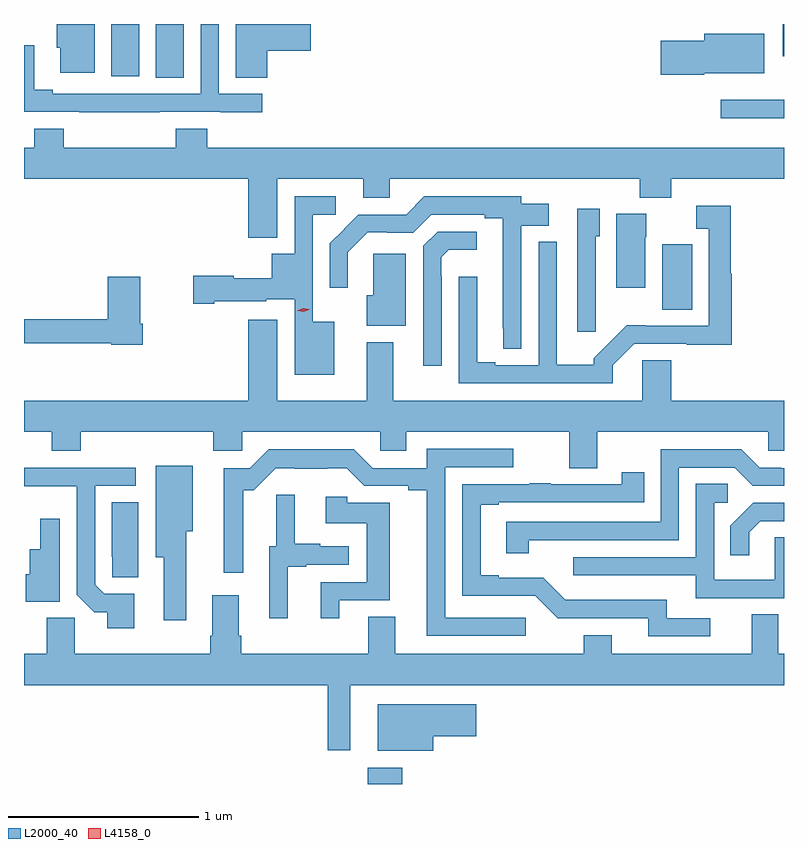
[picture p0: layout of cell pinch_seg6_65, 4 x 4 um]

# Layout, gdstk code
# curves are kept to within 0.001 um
import gdstk
lib = gdstk.Library(unit=1e-6, precision=1e-09)
def R(c, l, rs):  # rectangles x0, y0, x1, y1
    for r in rs: c.add(gdstk.rectangle(r[:2], r[2:], *l))
def P(c, l, *ps):  # polygons
    for p in ps: c.add(gdstk.Polygon(p, *l))
L2000_40 = (2000, 40)
L4158_0 = (4158, 0)

pinch_seg6_65 = lib.new_cell('pinch_seg6_65')
R(pinch_seg6_65, L2000_40, [(887.754,944.151,887.937,944.236), (889.304,946.648,889.462,946.993), (889.614,947.654,889.946,947.752), (886.64,947.869,886.786,948.151), (886.406,947.877,886.552,948.151), (889.94,947.981,889.946,948.151)])
P(pinch_seg6_65, L2000_40, [(886.318,948.151),(886.118,948.151),(886.118,948.027),(886.136,948.027),(886.136,947.894),(886.318,947.894)],
  [(887.225,948.011),(887.455,948.011),(887.455,948.151),(887.06,948.151),(887.06,947.869),(887.225,947.869)],
  [(886.661,947.688),(886.978,947.688),(886.978,947.687),(887.2,947.687),(887.2,947.784),(886.971,947.784),(886.971,948.151),(886.875,948.151),(886.875,947.784),(886.096,947.784),(886.096,947.804),(886,947.804),(886,948.04),(885.946,948.04),(885.946,947.688),(886.237,947.688),(886.237,947.687),(886.661,947.687)],
  [(889.526,947.891),(889.843,947.891),(889.843,948.1),(889.526,948.1),(889.526,948.062),(889.296,948.062),(889.296,947.884),(889.526,947.884)],
  [(887.278,947.336),(887.732,947.336),(887.732,947.237),(887.872,947.237),(887.872,947.336),(889.187,947.336),(889.187,947.237),(889.352,947.237),(889.352,947.336),(889.946,947.336),(889.946,947.5),(886.91,947.5),(886.91,947.599),(886.745,947.599),(886.745,947.5),(886.154,947.5),(886.154,947.599),(886.001,947.599),(886.001,947.5),(885.946,947.5),(885.946,947.336),(887.126,947.336),(887.126,947.027),(887.278,947.027)],
  [(888.564,947.09),(888.709,947.09),(888.709,947.206),(888.564,947.206),(888.564,947.244),(888.053,947.244),(887.957,947.148),(887.706,947.148),(887.556,946.996),(887.556,946.764),(887.651,946.764),(887.651,946.949),(887.756,947.054),(887.858,947.054),(887.858,947.052),(887.994,947.052),(888.09,947.148),(888.371,947.148),(888.371,947.128),(888.467,947.128),(888.468,946.441),(888.564,946.441)],
  [(887.578,946.585),(887.466,946.585),(887.466,947.148),(887.586,947.148),(887.586,947.244),(887.37,947.244),(887.37,946.942),(887.249,946.942),(887.249,946.813),(887.051,946.813),(887.051,946.826),(886.836,946.826),(886.836,946.679),(886.948,946.679),(886.948,946.691),(887.22,946.691),(887.22,946.703),(887.37,946.703),(887.37,946.304),(887.578,946.304)],
  [(889.045,946.354),(889.158,946.467),(889.435,946.467),(889.435,946.462),(889.672,946.462),(889.672,946.836),(889.667,946.836),(889.667,947.194),(889.485,947.194),(889.485,947.073),(889.551,947.073),(889.551,946.563),(889.219,946.563),(889.219,946.565),(889.118,946.565),(888.944,946.391),(888.944,946.357),(888.75,946.357),(888.75,947.005),(888.654,947.005),(888.654,946.356),(888.427,946.356),(888.427,946.371),(888.331,946.371),(888.331,946.822),(888.234,946.822),(888.234,946.26),(889.045,946.26)],
  [(888.954,947.034),(888.976,947.034),(888.976,947.179),(888.858,947.179),(888.858,946.53),(888.954,946.53)],
  [(889.216,947.028),(889.222,947.028),(889.222,947.152),(889.064,947.152),(889.064,946.764),(889.216,946.764)],
  [(888.144,946.823),(888.141,946.823),(888.141,946.923),(888.182,946.964),(888.328,946.964),(888.328,947.058),(888.123,947.058),(888.048,946.983),(888.048,946.353),(888.144,946.353)],
  [(887.956,946.941),(887.783,946.941),(887.783,946.723),(887.75,946.723),(887.75,946.562),(887.956,946.562)],
  [(886.571,946.573),(886.558,946.573),(886.558,946.822),(886.388,946.822),(886.388,946.598),(885.946,946.598),(885.946,946.47),(886.404,946.47),(886.404,946.462),(886.571,946.462)],
  [(888.963,946.004),(889.863,946.004),(889.863,945.906),(889.946,945.906),(889.946,946.168),(889.352,946.168),(889.352,946.382),(889.2,946.382),(889.2,946.168),(887.89,946.168),(887.89,946.477),(887.75,946.477),(887.75,946.168),(887.278,946.168),(887.278,946.594),(887.126,946.594),(887.126,946.168),(885.946,946.168),(885.946,946.004),(886.091,946.004),(886.091,945.905),(886.244,945.905),(886.244,946.004),(886.943,946.004),(886.943,945.906),(887.094,945.906),(887.094,946.004),(887.82,946.004),(887.82,945.906),(887.959,945.906),(887.959,946.004),(888.815,946.004),(888.815,945.814),(888.963,945.814)],
  [(888.586,945.027),(888.162,945.027),(888.162,945.819),(888.52,945.819),(888.52,945.915),(888.066,945.915),(888.066,945.813),(887.781,945.813),(887.681,945.913),(887.233,945.913),(887.133,945.813),(886.997,945.813),(886.997,945.264),(887.101,945.264),(887.101,945.698),(887.156,945.698),(887.271,945.813),(887.371,945.813),(887.371,945.809),(887.543,945.809),(887.543,945.813),(887.644,945.813),(887.737,945.72),(887.969,945.72),(887.969,945.698),(888.065,945.698),(888.065,944.931),(888.586,944.931)],
  [(888.603,945.435),(889.392,945.435),(889.392,945.816),(889.686,945.816),(889.782,945.72),(889.946,945.72),(889.946,945.813),(889.931,945.813),(889.931,945.816),(889.818,945.816),(889.722,945.912),(889.296,945.912),(889.296,945.531),(888.483,945.531),(888.483,945.366),(888.603,945.366)],
  [(886.801,945.482),(886.834,945.482),(886.834,945.826),(886.64,945.826),(886.64,945.344),(886.682,945.344),(886.682,945.012),(886.801,945.012)],
  [(886.525,945.153),(886.368,945.153),(886.32,945.201),(886.32,945.72),(886.534,945.72),(886.534,945.816),(885.946,945.816),(885.946,945.719),(886.224,945.719),(886.224,945.147),(886.317,945.055),(886.385,945.055),(886.385,944.97),(886.525,944.97)],
  [(889.558,945.024),(889.33,945.024),(889.33,945.12),(888.795,945.12),(888.678,945.237),(888.445,945.237),(888.445,945.25),(888.349,945.25),(888.349,945.621),(888.445,945.621),(888.445,945.633),(889.211,945.633),(889.211,945.793),(889.093,945.793),(889.093,945.729),(888.719,945.729),(888.719,945.734),(888.607,945.734),(888.607,945.729),(888.252,945.729),(888.252,945.141),(888.636,945.141),(888.755,945.023),(889.232,945.024),(889.232,944.928),(889.558,944.928)],
  [(889.946,945.449),(889.896,945.449),(889.896,945.225),(889.578,945.225),(889.578,945.63),(889.651,945.63),(889.651,945.731),(889.482,945.731),(889.482,945.345),(888.837,945.345),(888.837,945.249),(889.481,945.249),(889.481,945.129),(889.946,945.129)],
  [(887.335,945.294),(887.431,945.294),(887.431,945.306),(887.656,945.306),(887.656,945.402),(887.505,945.402),(887.505,945.415),(887.371,945.415),(887.371,945.673),(887.273,945.673),(887.273,945.402),(887.237,945.402),(887.237,945.024),(887.335,945.024)],
  [(887.605,945.117),(887.872,945.117),(887.872,945.631),(887.648,945.631),(887.648,945.663),(887.535,945.663),(887.535,945.524),(887.75,945.524),(887.75,945.213),(887.507,945.213),(887.507,945.024),(887.605,945.024)],
  [(886.546,945.635),(886.409,945.635),(886.409,945.346),(886.41,945.346),(886.41,945.238),(886.546,945.238)],
  [(889.764,945.476),(889.822,945.534),(889.946,945.534),(889.946,945.63),(889.784,945.63),(889.663,945.509),(889.663,945.354),(889.764,945.354)],
  [(886.135,945.547),(886.031,945.547),(886.031,945.387),(885.975,945.387),(885.975,945.255),(885.956,945.255),(885.956,945.11),(886.135,945.11)],
  [(887.662,944.672),(889.946,944.672),(889.946,944.836),(889.915,944.836),(889.915,945.044),(889.775,945.044),(889.775,944.836),(889.039,944.836),(889.039,944.935),(888.892,944.935),(888.892,944.836),(887.899,944.836),(887.899,945.031),(887.759,945.031),(887.759,944.836),(887.09,944.836),(887.09,944.932),(887.077,944.932),(887.077,945.145),(886.937,945.145),(886.937,944.932),(886.925,944.932),(886.925,944.836),(886.212,944.836),(886.212,945.025),(886.066,945.025),(886.066,944.836),(885.946,944.836),(885.946,944.672),(887.545,944.672),(887.545,944.328),(887.662,944.328)],
  [(888.1,944.402),(888.325,944.402),(888.325,944.572),(887.807,944.572),(887.807,944.327),(888.1,944.327)])
P(pinch_seg6_65, L4158_0, [(887.418,946.637),(887.384,946.642),(887.384,946.642),(887.384,946.642),(887.415,946.656),(887.449,946.651),(887.449,946.651),(887.449,946.651)])

lib.write_gds('pinch_seg6_65.gds')
